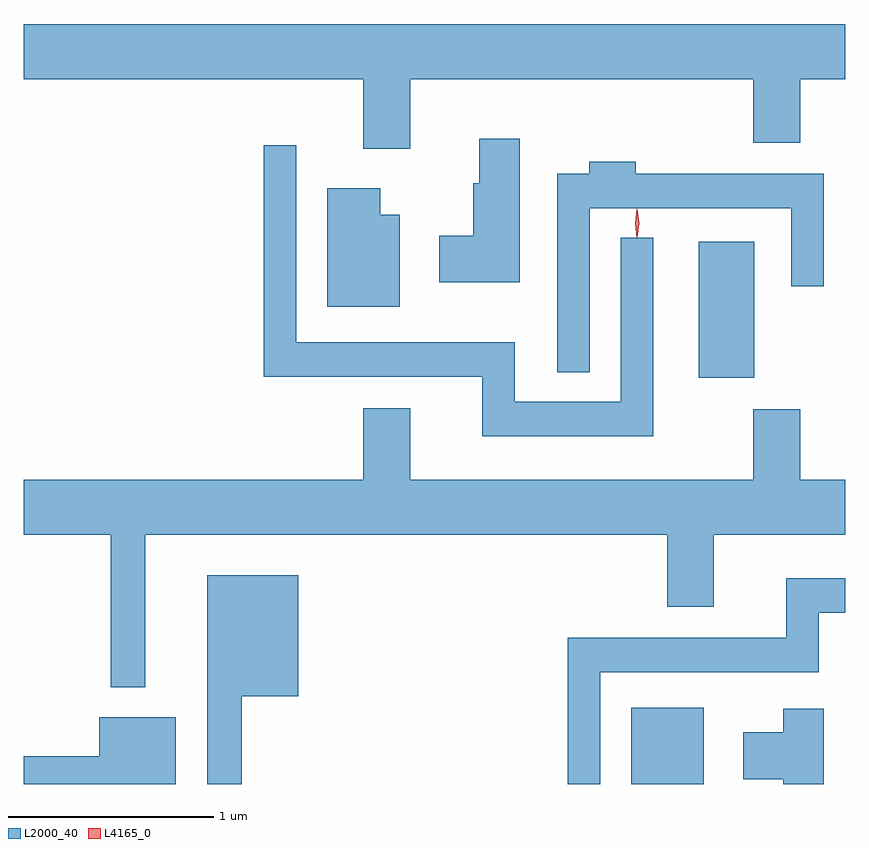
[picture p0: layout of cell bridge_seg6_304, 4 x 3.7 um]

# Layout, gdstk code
import gdstk
lib = gdstk.Library(unit=1e-6, precision=1e-09)
def R(c, l, rs):  # rectangles x0, y0, x1, y1
    for r in rs: c.add(gdstk.rectangle(r[:2], r[2:], *l))
def P(c, l, *ps):  # polygons
    for p in ps: c.add(gdstk.Polygon(p, *l))
L2000_40 = (2000, 40)
L4165_0 = (4165, 0)

bridge_seg6_304 = lib.new_cell('bridge_seg6_304')
R(bridge_seg6_304, L2000_40, [(1305.316,1531.063,1305.669,1531.434), (1305.646,1533.041,1305.914,1533.704)])
P(bridge_seg6_304, L2000_40, [(1304.239,1534.496),(1305.911,1534.496),(1305.911,1534.186),(1306.139,1534.186),(1306.139,1534.496),(1306.358,1534.496),(1306.358,1534.764),(1302.358,1534.764),(1302.358,1534.496),(1304.011,1534.496),(1304.011,1534.156),(1304.239,1534.156)],
  [(1304.774,1534.204),(1304.576,1534.204),(1304.576,1533.989),(1304.546,1533.989),(1304.546,1533.734),(1304.381,1533.734),(1304.381,1533.506),(1304.774,1533.506)],
  [(1305.424,1533.723),(1305.266,1533.723),(1305.266,1532.924),(1304.749,1532.924),(1304.749,1533.214),(1303.684,1533.214),(1303.684,1534.173),(1303.526,1534.173),(1303.526,1533.046),(1304.591,1533.046),(1304.591,1532.756),(1305.424,1532.756)],
  [(1305.114,1533.866),(1306.096,1533.866),(1306.096,1533.488),(1306.254,1533.488),(1306.254,1534.034),(1305.339,1534.034),(1305.339,1534.094),(1305.111,1534.094),(1305.111,1534.034),(1304.956,1534.034),(1304.956,1533.068),(1305.114,1533.068)],
  [(1304.189,1533.834),(1304.094,1533.834),(1304.094,1533.964),(1303.836,1533.964),(1303.836,1533.386),(1304.189,1533.386)],
  [(1305.491,1531.926),(1305.719,1531.926),(1305.719,1532.276),(1306.358,1532.276),(1306.358,1532.544),(1306.139,1532.544),(1306.139,1532.889),(1305.911,1532.889),(1305.911,1532.544),(1304.239,1532.544),(1304.239,1532.894),(1304.011,1532.894),(1304.011,1532.544),(1302.358,1532.544),(1302.358,1532.276),(1302.781,1532.276),(1302.781,1531.533),(1302.949,1531.533),(1302.949,1532.276),(1305.491,1532.276)],
  [(1303.419,1531.491),(1303.694,1531.491),(1303.694,1532.079),(1303.251,1532.079),(1303.251,1531.063),(1303.419,1531.063)],
  [(1305.164,1531.606),(1306.229,1531.606),(1306.229,1531.896),(1306.358,1531.896),(1306.358,1532.064),(1306.071,1532.064),(1306.071,1531.774),(1305.006,1531.774),(1305.006,1531.063),(1305.164,1531.063)],
  [(1306.254,1531.429),(1306.056,1531.429),(1306.056,1531.314),(1305.861,1531.314),(1305.861,1531.086),(1306.056,1531.086),(1306.056,1531.063),(1306.254,1531.063)],
  [(1303.099,1531.389),(1302.726,1531.389),(1302.726,1531.199),(1302.358,1531.199),(1302.358,1531.063),(1303.099,1531.063)])
P(bridge_seg6_304, L4165_0, [(1305.344,1533.724),(1305.335,1533.793),(1305.344,1533.863),(1305.345,1533.863),(1305.345,1533.863),(1305.355,1533.793),(1305.345,1533.724),(1305.345,1533.724)],
  [(1305.344,1533.727),(1305.335,1533.794),(1305.344,1533.86),(1305.345,1533.861),(1305.345,1533.86),(1305.355,1533.794),(1305.345,1533.727),(1305.345,1533.727)])

lib.write_gds('bridge_seg6_304.gds')
